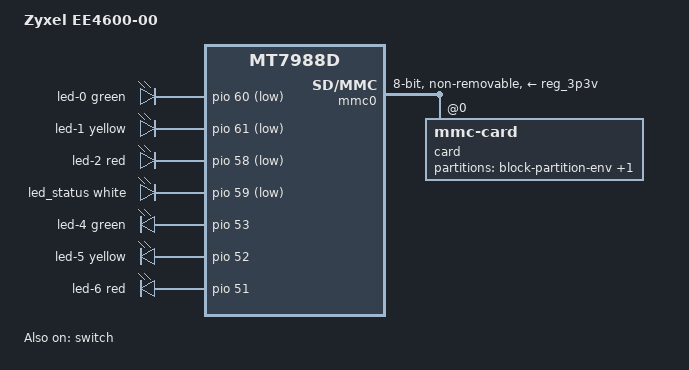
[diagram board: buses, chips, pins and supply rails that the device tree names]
// SPDX-License-Identifier: (GPL-2.0 OR MIT)

#include "mt7988d-zyxel-ee4600.dtsi"

/ {
	model = "Zyxel EE4600-00";
	compatible = "zyxel,ee4600-00", "mediatek,mt7988d";

	chosen {
		stdout-path = "serial0:115200n8";

		/*
		 * The bootloader expects a verity volume, replacing the
		 * device numbers with the current dual boot root device.
		 * This fails horribly if "verity" is removed or changed.
		 */
		bootargs = "root=/dev/mmcblk0p38 rootwait fstools_ignore_partname=1 dm-mod.create=\"dummy,,,ro,0 0 verity 1 0 0 0\"";
	};

	gpio-leds {
		compatible = "gpio-leds";

		led-0 {
			gpios = <&pio 60 GPIO_ACTIVE_LOW>;
			color = <LED_COLOR_ID_GREEN>;
			function = LED_FUNCTION_POWER;
		};

		led-1 {
			gpios = <&pio 61 GPIO_ACTIVE_LOW>;
			color = <LED_COLOR_ID_YELLOW>;
			function = LED_FUNCTION_POWER;
		};

		led-2 {
			gpios = <&pio 58 GPIO_ACTIVE_LOW>;
			color = <LED_COLOR_ID_RED>;
			function = LED_FUNCTION_POWER;
		};

		led_status: led-3 {
			gpios = <&pio 59 GPIO_ACTIVE_LOW>;
			color = <LED_COLOR_ID_WHITE>;
			function = LED_FUNCTION_STATUS;
			panic-indicator;
		};

		led-4 {
			gpios = <&pio 53 GPIO_ACTIVE_HIGH>;
			color = <LED_COLOR_ID_GREEN>;
			function = LED_FUNCTION_WAN_ONLINE;
		};

		led-5 {
			gpios = <&pio 52 GPIO_ACTIVE_HIGH>;
			color = <LED_COLOR_ID_YELLOW>;
			function = LED_FUNCTION_WAN;
		};

		led-6 {
			gpios = <&pio 51 GPIO_ACTIVE_HIGH>;
			color = <LED_COLOR_ID_RED>;
			function = LED_FUNCTION_WAN;
		};

	};
};

&mmc0 {
	pinctrl-names = "default", "state_uhs";
	pinctrl-0 = <&mmc0_pins_emmc_51>;
	pinctrl-1 = <&mmc0_pins_emmc_51>;
	bus-width = <8>;
	max-frequency = <200000000>;
	cap-mmc-highspeed;
	mmc-hs200-1_8v;
	mmc-hs400-1_8v;
	hs400-ds-delay = <0x12814>;
	vqmmc-supply = <&reg_1p8v>;
	vmmc-supply = <&reg_3p3v>;
	non-removable;
	no-sd;
	no-sdio;
	status = "okay";

	card@0 {
		compatible = "mmc-card";
		reg = <0>;

		block {
			compatible = "block-device";
			partitions {
				block-partition-env {
					partname = "u-boot-env";
					nvmem-layout {
						compatible = "u-boot,env";
						env-size = <0x80000>;

						mac: ethaddr {
							#nvmem-cell-cells = <1>;
						};
					};
				};

				block-partition-factory {
					partname = "factory";

					nvmem-layout {
						compatible = "fixed-layout";
						#address-cells = <1>;
						#size-cells = <1>;

						eeprom_factory_0: eeprom@0 {
							reg = <0x0 0x1e00>;
						};
					};
				};
			};
		};
	};
};

&gmac1 {
	openwrt,netdev-name = "lan3";
};

&gmac2 {
	openwrt,netdev-name = "wan";
};

&switch {
	status = "okay";

	ports {
		port@0 {
			label = "lan1";
			nvmem-cells = <&mac 2>;
			nvmem-cell-names = "mac-address";
		};

		port@1 {
			label = "lan2";
			nvmem-cells = <&mac 3>;
			nvmem-cell-names = "mac-address";
		};

		port@2 {
			status = "disabled";
		};

		port@3 {
			status = "disabled";
		};
	};

};
